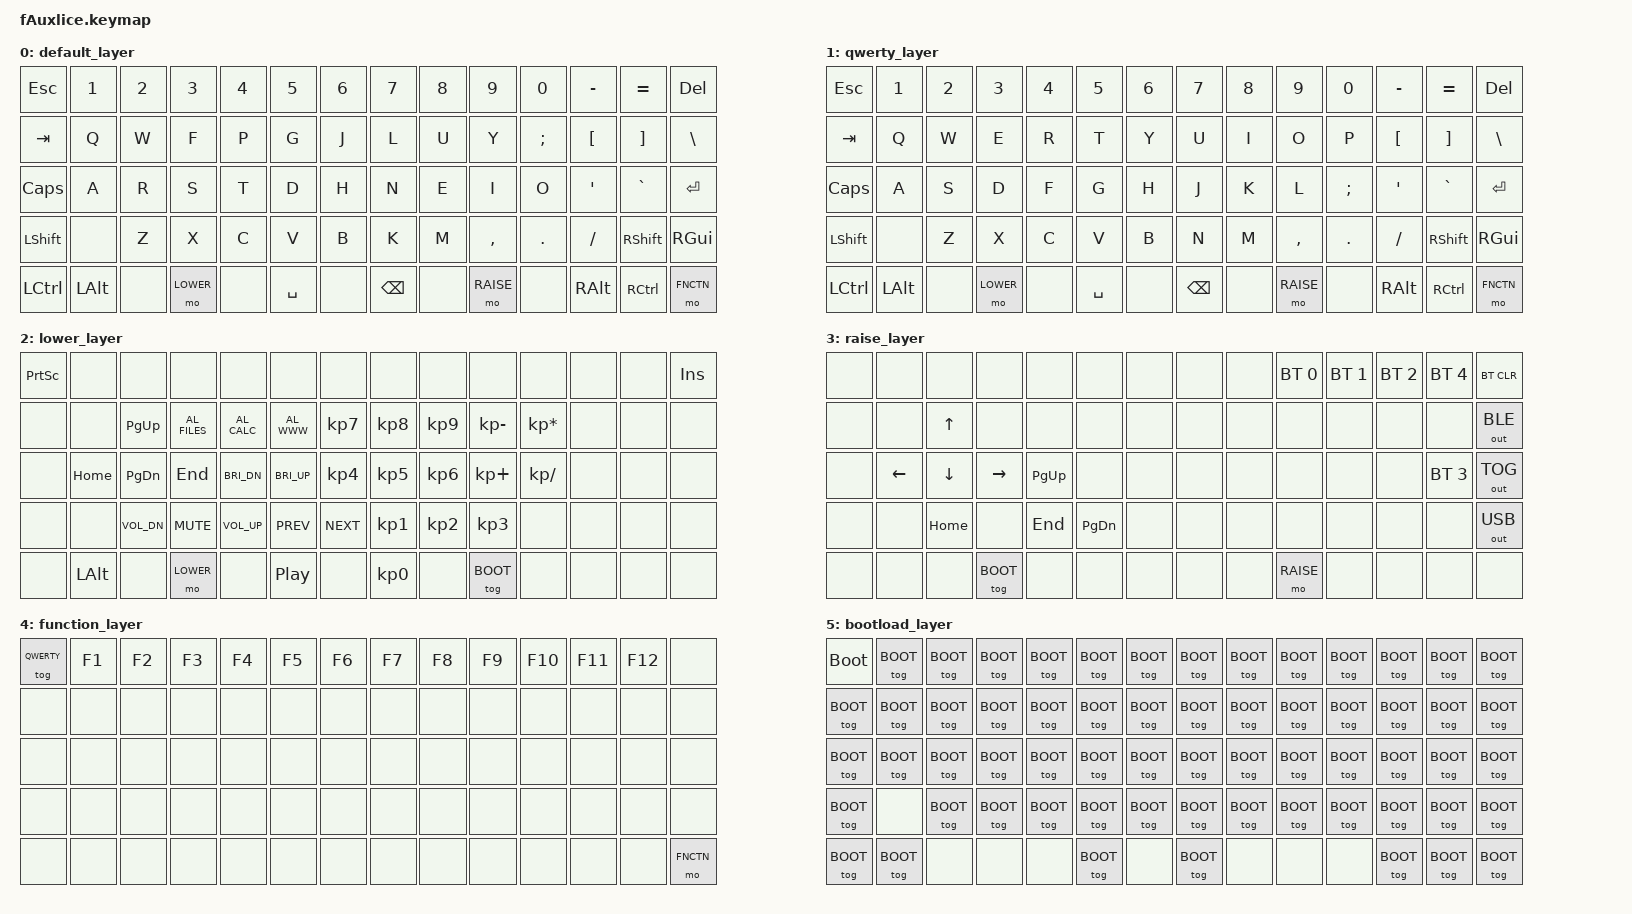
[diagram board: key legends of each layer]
#include <behaviors.dtsi>
#include <dt-bindings/zmk/keys.h>
#include <dt-bindings/zmk/bt.h>
#include <dt-bindings/zmk/rgb.h>
#include <dt-bindings/zmk/outputs.h>

#define DEFAULT 0
#define QWERTY  1
#define LOWER   2
#define RAISE   3
#define FNCTN   4
#define BOOT    5

&kscan0 {
    debounce-press-ms = <10>;
    debounce-release-ms = <10>;
};

/ {
        keymap {
                compatible = "zmk,keymap";

                default_layer {

                        bindings = <
   &kp ESC         &kp N1       &kp N2       &kp N3       &kp N4       &kp N5       &kp N6       &kp N7       &kp N8       &kp N9       &kp N0       &kp MINUS    &kp EQUAL    &kp DELETE   
   &kp TAB         &kp Q        &kp W        &kp F        &kp P        &kp G        &kp J        &kp L        &kp U        &kp Y        &kp SEMI     &kp LBKT     &kp RBKT     &kp BSLH     
   &kp CAPS        &kp A        &kp R        &kp S        &kp T        &kp D        &kp H        &kp N        &kp E        &kp I        &kp O        &kp SQT      &kp GRAVE    &kp ENTER            
   &kp LSHFT       &none        &kp Z        &kp X        &kp C        &kp V        &kp B        &kp K        &kp M        &kp COMMA    &kp DOT      &kp SLASH    &kp RSHFT    &kp RGUI    
   &kp LCTRL       &kp LALT     &none        &mo LOWER    &none        &kp SPACE    &none        &kp BSPC     &none        &mo RAISE    &none        &kp RALT     &kp RCTRL    &mo FNCTN      
                                >;
                        };

                qwerty_layer {

                        bindings = <
   &kp ESC         &kp N1       &kp N2       &kp N3       &kp N4       &kp N5       &kp N6       &kp N7       &kp N8       &kp N9       &kp N0       &kp MINUS    &kp EQUAL    &kp DELETE   
   &kp TAB         &kp Q        &kp W        &kp E        &kp R        &kp T        &kp Y        &kp U        &kp I        &kp O        &kp P        &kp LBKT     &kp RBKT     &kp BSLH     
   &kp CAPS        &kp A        &kp S        &kp D        &kp F        &kp G        &kp H        &kp J        &kp K        &kp L        &kp SEMI     &kp SQT      &kp GRAVE    &kp ENTER            
   &kp LSHFT       &none        &kp Z        &kp X        &kp C        &kp V        &kp B        &kp N        &kp M        &kp COMMA    &kp DOT      &kp SLASH    &kp RSHFT    &kp RGUI    
   &kp LCTRL       &kp LALT     &none        &mo LOWER    &none        &kp SPACE    &none        &kp BSPC     &none        &mo RAISE    &none        &kp RALT     &kp RCTRL    &mo FNCTN      
                                >;
                        };

                lower_layer {

                        bindings = <
   &kp PSCRN       &none        &none        &none          &none         &none        &none        &none        &none        &none        &none           &none        &none        &kp INS           
   &none           &none        &kp PG_UP    &kp C_AL_FILES &kp C_AL_CALC &kp C_AL_WWW &kp KP_N7    &kp KP_N8    &kp KP_N9    &kp KP_MINUS &kp KP_MULTIPLY &none        &none        &none             
   &none           &kp HOME     &kp PG_DN    &kp END        &kp C_BRI_DN  &kp C_BRI_UP &kp KP_N4    &kp KP_N5    &kp KP_N6    &kp KP_PLUS  &kp KP_SLASH    &none        &none        &none      
   &none           &none        &kp C_VOL_DN &kp C_MUTE     &kp C_VOL_UP  &kp C_PREV   &kp C_NEXT   &kp KP_N1    &kp KP_N2    &kp KP_N3    &none           &none        &none        &none            
   &none           &kp LALT     &none        &mo LOWER      &none         &kp C_PP     &none        &kp KP_N0    &none        &tog BOOT    &none           &none        &none        &none           
                                >;
                        };

                raise_layer {

                        bindings = <
   &none           &none        &none        &none        &none        &none        &none        &none        &none        &bt BT_SEL 0 &bt BT_SEL 1 &bt BT_SEL 2 &bt BT_SEL 4 &bt BT_CLR
   &none           &none        &kp UP       &none        &none        &none        &none        &none        &none        &none        &none        &none        &none        &out OUT_BLE      
   &none           &kp LEFT     &kp DOWN     &kp RIGHT    &kp PG_UP    &none        &none        &none        &none        &none        &none        &none        &bt BT_SEL 3 &out OUT_TOG            
   &none           &none        &kp HOME     &none        &kp END      &kp PG_DN    &none        &none        &none        &none        &none        &none        &none        &out OUT_USB     
   &none           &none        &none        &tog BOOT    &none        &none        &none        &none        &none        &mo RAISE    &none        &none        &none        &none           
                                >;
                        };

                function_layer {

                        bindings = <
   &tog QWERTY     &kp F1       &kp F2       &kp F3       &kp F4       &kp F5       &kp F6       &kp F7       &kp F8       &kp F9       &kp F10      &kp F11      &kp F12      &none           
   &none           &none        &none        &none        &none        &none        &none        &none        &none        &none        &none        &none        &none        &none             
   &none           &none        &none        &none        &none        &none        &none        &none        &none        &none        &none        &none        &none        &none                   
   &none           &none        &none        &none        &none        &none        &none        &none        &none        &none        &none        &none        &none        &none            
   &none           &none        &none        &none        &none        &none        &none        &none        &none        &none        &none        &none        &none        &mo FNCTN      
                                >;
                        };

                bootload_layer {

                        bindings = <
   &bootloader     &tog BOOT    &tog BOOT    &tog BOOT    &tog BOOT    &tog BOOT    &tog BOOT    &tog BOOT    &tog BOOT    &tog BOOT    &tog BOOT    &tog BOOT    &tog BOOT    &tog BOOT               
   &tog BOOT       &tog BOOT    &tog BOOT    &tog BOOT    &tog BOOT    &tog BOOT    &tog BOOT    &tog BOOT    &tog BOOT    &tog BOOT    &tog BOOT    &tog BOOT    &tog BOOT    &tog BOOT                 
   &tog BOOT       &tog BOOT    &tog BOOT    &tog BOOT    &tog BOOT    &tog BOOT    &tog BOOT    &tog BOOT    &tog BOOT    &tog BOOT    &tog BOOT    &tog BOOT    &tog BOOT    &tog BOOT                       
   &tog BOOT       &none        &tog BOOT    &tog BOOT    &tog BOOT    &tog BOOT    &tog BOOT    &tog BOOT    &tog BOOT    &tog BOOT    &tog BOOT    &tog BOOT    &tog BOOT    &tog BOOT                
   &tog BOOT       &tog BOOT    &none        &none        &none        &tog BOOT    &none        &tog BOOT    &none        &none        &none        &tog BOOT    &tog BOOT    &tog BOOT               
                                >;
                        };
        };
